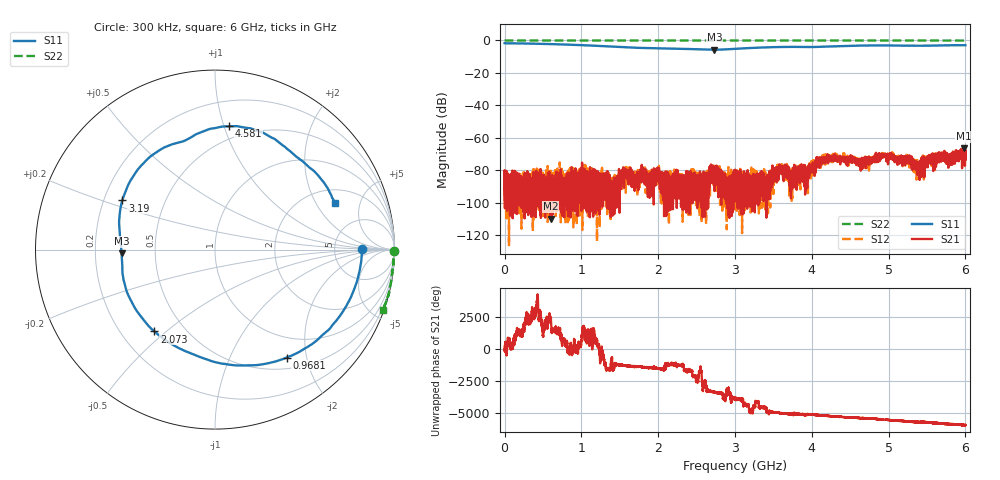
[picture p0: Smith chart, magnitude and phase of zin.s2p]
!  8/10/2020  01:46:50
! Ref Plane: 0.000 mm
# MHZ S MA R  50
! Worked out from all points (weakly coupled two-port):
!   10001 points, 300 kHz to 6 GHz, reference 50 ohm
!   highest |S21| = -66.37 dB at 5.982 GHz (marker M1); lowest = -109.8 dB at 599.7 MHz (marker M2)
!   lowest |S11| = -5.7 dB at 2.733 GHz (marker M3), VSWR 3.17, Z = 15.8 - j0.923 ohm
!   |S11| at or under -10 dB: nowhere
!   |S22| runs from -0.1 to 0.0 dB; largest |S21 - S12| = 0.00023
!   S11 on the Smith chart (normalised r, x): 300 kHz: 10, +0; 968.1 MHz: 0.66, -1.66; 2.073 GHz: 0.34, -0.46; 3.19 GHz: 0.28, +0.23; 4.581 GHz: 0.40, +1.04; 6 GHz: 2.75, +2.91
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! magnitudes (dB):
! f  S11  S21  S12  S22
! 300 kHz  -1.7  -87.7  -85.3  0.0
! 599.7 MHz  -2.2  -109.8  -80.3  0.0
! 968.1 MHz  -2.8  -89.1  -95.8  0.0
! 1 GHz  -2.9  -82.0  -90.6  0.0
! 2.001 GHz  -4.8  -82.5  -80.4  0.0
! 2.073 GHz  -4.9  -84.7  -88.2  0.0
! 2.733 GHz  -5.7  -80.6  -81.6  0.0
! 3 GHz  -5.1  -79.6  -89.0  0.0
! 3.19 GHz  -4.7  -89.6  -87.9  0.0
! 3.933 GHz  -4.0  -80.7  -83.4  0.0
! 4 GHz  -4.0  -78.1  -76.0  0.0
! 4.142 GHz  -3.8  -72.5  -72.3  0.0
! 4.302 GHz  -3.6  -71.9  -70.4  0.0
! 4.581 GHz  -3.2  -74.4  -75.7  0.0
! 5 GHz  -3.1  -72.2  -71.1  0.0
! 5.272 GHz  -3.2  -72.5  -73.1  0.0
! 5.407 GHz  -3.3  -79.3  -75.6  0.0
! 5.527 GHz  -3.2  -73.6  -70.7  0.0
! 5.66 GHz  -3.1  -72.6  -70.9  0.0
! 5.794 GHz  -3.0  -74.6  -72.7  -0.1
! 5.982 GHz  -2.9  -66.4  -65.6  -0.1
! 6 GHz  -2.9  -68.1  -69.5  -0.1
